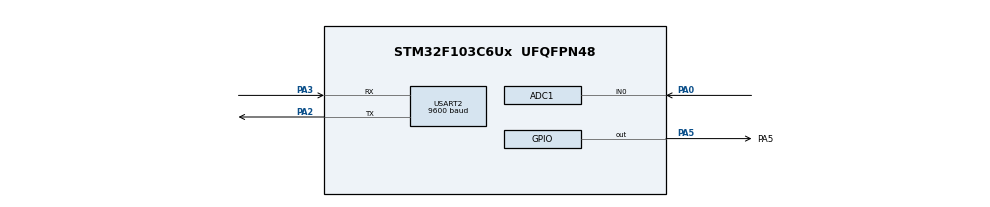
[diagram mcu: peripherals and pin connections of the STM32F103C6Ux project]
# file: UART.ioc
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ADC1.Channel-1\#ChannelRegularConversion=ADC_CHANNEL_0
ADC1.ContinuousConvMode=ENABLE
ADC1.NbrOfConversionFlag=1
ADC1.Rank-1\#ChannelRegularConversion=1
ADC1.SamplingTime-1\#ChannelRegularConversion=ADC_SAMPLETIME_1CYCLE_5
ADC1.master=1
Mcu.Family=STM32F1
Mcu.Name=STM32F103C6Ux
Mcu.Package=UFQFPN48
NVIC.PriorityGroup=NVIC_PRIORITYGROUP_4
NVIC.TIM2_IRQn=true\:0\:0\:false\:false\:true\:true\:true
NVIC.USART2_IRQn=true\:0\:0\:false\:false\:true\:true\:true
PA0-WKUP.Signal=ADCx_IN0
PA2.Mode=Asynchronous
PA2.Signal=USART2_TX
PA3.Mode=Asynchronous
PA3.Signal=USART2_RX
PA5.GPIO_Label=PA5
PA5.Signal=GPIO_Output
ProjectManager.HeapSize=0x200
ProjectManager.StackSize=0x400
ProjectManager.TargetToolchain=STM32CubeIDE
RCC.APB1Freq_Value=8000000
RCC.APB2Freq_Value=8000000
SH.ADCx_IN0.0=ADC1_IN0,IN0
TIM2.Period=9
TIM2.Prescaler=7999
USART2.BaudRate=9600
USART2.VirtualMode=VM_ASYNC
VP_SYS_VS_ND.Mode=No_Debug
VP_TIM2_VS_ClockSourceINT.Mode=Internal
board=custom

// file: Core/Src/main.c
/* USER CODE BEGIN Header */
/**
 ******************************************************************************
 * @file           : main.c
 * @brief          : Main program body
 ******************************************************************************
 * @attention
 *
 * <h2><center>&copy; Copyright (c) 2024 STMicroelectronics.
 * All rights reserved.</center></h2>
 *
 * This software component is licensed by ST under BSD 3-Clause license,
 * the "License"; You may not use this file except in compliance with the
 * License. You may obtain a copy of the License at:
 *                        opensource.org/licenses/BSD-3-Clause
 *
 ******************************************************************************
 */
/* USER CODE END Header */
#include "main.h"

ADC_HandleTypeDef hadc1;

TIM_HandleTypeDef htim2;

UART_HandleTypeDef huart2;

void SystemClock_Config(void);
static void MX_GPIO_Init(void);
static void MX_ADC1_Init(void);
static void MX_USART2_UART_Init(void);
static void MX_TIM2_Init(void);

/* USER CODE BEGIN 0 */

void HAL_UART_RxCpltCallback(UART_HandleTypeDef *huart) {
	if (huart->Instance == USART2) {
		//HAL_UART_Transmit(&huart2, &temp, 1, 50);
		buffer[index_buffer++] = temp;
		HAL_GPIO_TogglePin(PA5_GPIO_Port, PA5_Pin);
		if (index_buffer == MAX_BUFFER_SIZE)
			index_buffer = 0;
		buffer_flag = 1;
		HAL_UART_Receive_IT(&huart2, &temp, 1);
	}
}
/* USER CODE END 0 */

int main(void)
{

  /* MCU Configuration--------------------------------------------------------*/

  /* Reset of all peripherals, Initializes the Flash interface and the Systick. */
  HAL_Init();

  /* Configure the system clock */
  SystemClock_Config();

  /* Initialize all configured peripherals */
  MX_GPIO_Init();
  MX_ADC1_Init();
  MX_USART2_UART_Init();
  MX_TIM2_Init();
  /* USER CODE BEGIN 2 */
	HAL_UART_Receive_IT(&huart2, &temp, 1);
	HAL_ADC_Start(&hadc1);
	HAL_TIM_Base_Start_IT(&htim2);

  /* USER CODE END 2 */

  /* Infinite loop */
  /* USER CODE BEGIN WHILE */
	uint32_t ADC_value = 0;
	while (1) {
    /* USER CODE END WHILE */

    /* USER CODE BEGIN 3 */
//		HAL_GPIO_TogglePin(PA5_GPIO_Port, PA5_Pin);
//		ADC_value = HAL_ADC_GetValue(&hadc1);
//		HAL_UART_Transmit(&huart2, str, sprintf(str, "%d\n", ADC_value), 1000);
//		HAL_Delay(500);
		  if(buffer_flag == 1){
			  command_parser_fsm();
			  buffer_flag = 0;
		  }
		  uart_communication_fsm();

	}
  /* USER CODE END 3 */
}

void SystemClock_Config(void)
{
  RCC_OscInitTypeDef RCC_OscInitStruct = {0};
  RCC_ClkInitTypeDef RCC_ClkInitStruct = {0};
  RCC_PeriphCLKInitTypeDef PeriphClkInit = {0};

  /** Initializes the RCC Oscillators according to the specified parameters
  * in the RCC_OscInitTypeDef structure.
  */
  RCC_OscInitStruct.OscillatorType = RCC_OSCILLATORTYPE_HSI;
  RCC_OscInitStruct.HSIState = RCC_HSI_ON;
  RCC_OscInitStruct.HSICalibrationValue = RCC_HSICALIBRATION_DEFAULT;
  RCC_OscInitStruct.PLL.PLLState = RCC_PLL_NONE;
  if (HAL_RCC_OscConfig(&RCC_OscInitStruct) != HAL_OK)
  {
    Error_Handler();
  }
  /** Initializes the CPU, AHB and APB buses clocks
  */
  RCC_ClkInitStruct.ClockType = RCC_CLOCKTYPE_HCLK|RCC_CLOCKTYPE_SYSCLK
                              |RCC_CLOCKTYPE_PCLK1|RCC_CLOCKTYPE_PCLK2;
  RCC_ClkInitStruct.SYSCLKSource = RCC_SYSCLKSOURCE_HSI;
  RCC_ClkInitStruct.AHBCLKDivider = RCC_SYSCLK_DIV1;
  RCC_ClkInitStruct.APB1CLKDivider = RCC_HCLK_DIV1;
  RCC_ClkInitStruct.APB2CLKDivider = RCC_HCLK_DIV1;

  if (HAL_RCC_ClockConfig(&RCC_ClkInitStruct, FLASH_LATENCY_0) != HAL_OK)
  {
    Error_Handler();
  }
  PeriphClkInit.PeriphClockSelection = RCC_PERIPHCLK_ADC;
  PeriphClkInit.AdcClockSelection = RCC_ADCPCLK2_DIV2;
  if (HAL_RCCEx_PeriphCLKConfig(&PeriphClkInit) != HAL_OK)
  {
    Error_Handler();
  }
}

static void MX_ADC1_Init(void)
{

  ADC_ChannelConfTypeDef sConfig = {0};

  /** Common config
  */
  hadc1.Instance = ADC1;
  hadc1.Init.ScanConvMode = ADC_SCAN_DISABLE;
  hadc1.Init.ContinuousConvMode = ENABLE;
  hadc1.Init.DiscontinuousConvMode = DISABLE;
  hadc1.Init.ExternalTrigConv = ADC_SOFTWARE_START;
  hadc1.Init.DataAlign = ADC_DATAALIGN_RIGHT;
  hadc1.Init.NbrOfConversion = 1;
  if (HAL_ADC_Init(&hadc1) != HAL_OK)
  {
    Error_Handler();
  }
  /** Configure Regular Channel
  */
  sConfig.Channel = ADC_CHANNEL_0;
  sConfig.Rank = ADC_REGULAR_RANK_1;
  sConfig.SamplingTime = ADC_SAMPLETIME_1CYCLE_5;
  if (HAL_ADC_ConfigChannel(&hadc1, &sConfig) != HAL_OK)
  {
    Error_Handler();
  }

}

static void MX_TIM2_Init(void)
{

  TIM_ClockConfigTypeDef sClockSourceConfig = {0};
  TIM_MasterConfigTypeDef sMasterConfig = {0};

  htim2.Instance = TIM2;
  htim2.Init.Prescaler = 7999;
  htim2.Init.CounterMode = TIM_COUNTERMODE_UP;
  htim2.Init.Period = 9;
  htim2.Init.ClockDivision = TIM_CLOCKDIVISION_DIV1;
  htim2.Init.AutoReloadPreload = TIM_AUTORELOAD_PRELOAD_DISABLE;
  if (HAL_TIM_Base_Init(&htim2) != HAL_OK)
  {
    Error_Handler();
  }
  sClockSourceConfig.ClockSource = TIM_CLOCKSOURCE_INTERNAL;
  if (HAL_TIM_ConfigClockSource(&htim2, &sClockSourceConfig) != HAL_OK)
  {
    Error_Handler();
  }
  sMasterConfig.MasterOutputTrigger = TIM_TRGO_RESET;
  sMasterConfig.MasterSlaveMode = TIM_MASTERSLAVEMODE_DISABLE;
  if (HAL_TIMEx_MasterConfigSynchronization(&htim2, &sMasterConfig) != HAL_OK)
  {
    Error_Handler();
  }

}

static void MX_USART2_UART_Init(void)
{

  huart2.Instance = USART2;
  huart2.Init.BaudRate = 9600;
  huart2.Init.WordLength = UART_WORDLENGTH_8B;
  huart2.Init.StopBits = UART_STOPBITS_1;
  huart2.Init.Parity = UART_PARITY_NONE;
  huart2.Init.Mode = UART_MODE_TX_RX;
  huart2.Init.HwFlowCtl = UART_HWCONTROL_NONE;
  huart2.Init.OverSampling = UART_OVERSAMPLING_16;
  if (HAL_UART_Init(&huart2) != HAL_OK)
  {
    Error_Handler();
  }

}

static void MX_GPIO_Init(void)
{
  GPIO_InitTypeDef GPIO_InitStruct = {0};

  /* GPIO Ports Clock Enable */
  __HAL_RCC_GPIOA_CLK_ENABLE();

  /*Configure GPIO pin Output Level */
  HAL_GPIO_WritePin(PA5_GPIO_Port, PA5_Pin, GPIO_PIN_RESET);

  /*Configure GPIO pin : PA5_Pin */
  GPIO_InitStruct.Pin = PA5_Pin;
  GPIO_InitStruct.Mode = GPIO_MODE_OUTPUT_PP;
  GPIO_InitStruct.Pull = GPIO_NOPULL;
  GPIO_InitStruct.Speed = GPIO_SPEED_FREQ_LOW;
  HAL_GPIO_Init(PA5_GPIO_Port, &GPIO_InitStruct);

}

/* USER CODE BEGIN 4 */
void HAL_TIM_PeriodElapsedCallback(TIM_HandleTypeDef * htim)
{
	timerun();
}
/* USER CODE END 4 */

void Error_Handler(void)
{
	__disable_irq();
	while (1) {
	}
}

/************************ (C) COPYRIGHT STMicroelectronics *****END OF FILE****/
